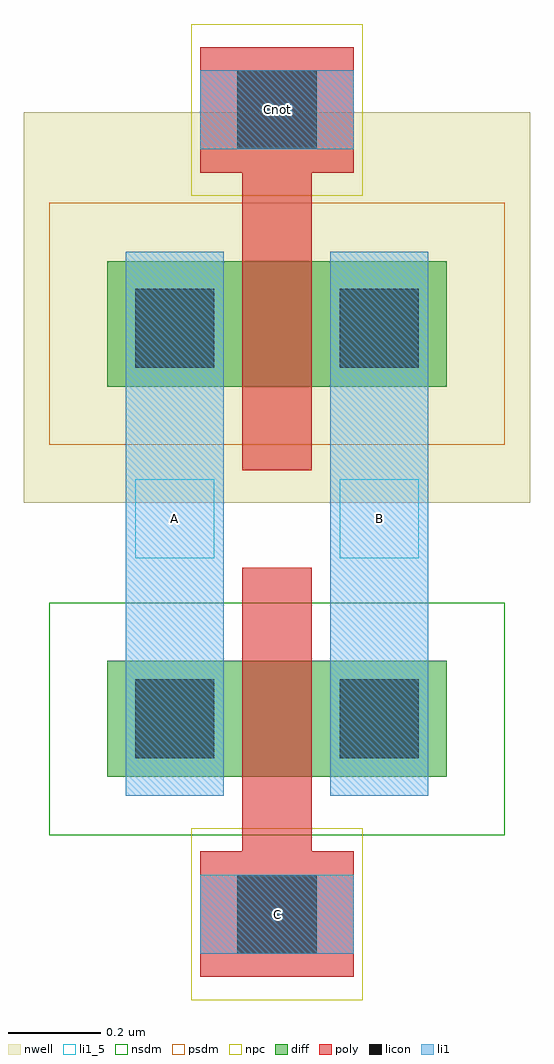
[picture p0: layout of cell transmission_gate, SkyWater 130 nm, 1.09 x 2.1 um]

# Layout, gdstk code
import gdstk
lib = gdstk.Library(unit=1e-6, precision=1e-09)
def R(c, l, rs):  # rectangles x0, y0, x1, y1
    for r in rs: c.add(gdstk.rectangle(r[:2], r[2:], *l))
nwell = (64, 20)
diff = (65, 20)
poly = (66, 20)
licon = (66, 44)
li1_5 = (67, 5)
li1 = (67, 20)
nsdm = (93, 44)
psdm = (94, 20)
npc = (95, 20)

transmission_gate = lib.new_cell('transmission_gate')
R(transmission_gate, nwell, [(-0.34,0.29,0.75,1.13)])
R(transmission_gate, diff, [(-0.16,-0.3,0.57,-0.05), (-0.16,0.54,0.57,0.81)])
R(transmission_gate, poly, [(0.04,-0.73,0.37,-0.46), (0.13,-0.46,0.28,0.15), (0.13,0.36,0.28,1), (0.04,1,0.37,1.27)])
R(transmission_gate, licon, [(0.12,-0.68,0.29,-0.51), (-0.1,-0.26,0.07,-0.09), (0.34,-0.26,0.51,-0.09), (-0.1,0.58,0.07,0.75), (0.34,0.58,0.51,0.75), (0.12,1.05,0.29,1.22)])
R(transmission_gate, li1_5, [(0.12,-0.68,0.29,-0.51), (-0.1,0.17,0.07,0.34), (0.34,0.17,0.51,0.34), (0.12,1.05,0.29,1.22)])
R(transmission_gate, li1, [(0.04,-0.68,0.37,-0.51), (-0.12,-0.34,0.09,0.83), (0.32,-0.34,0.53,0.83), (0.04,1.05,0.37,1.22)])
R(transmission_gate, nsdm, [(-0.285,-0.425,0.695,0.075)])
R(transmission_gate, psdm, [(-0.285,0.415,0.695,0.935)])
R(transmission_gate, npc, [(0.02,-0.78,0.39,-0.41), (0.02,0.95,0.39,1.32)])
transmission_gate.add(gdstk.Label('B', (0.425,0.255), layer=67, texttype=5))
transmission_gate.add(gdstk.Label('A', (-0.015,0.255), layer=67, texttype=5))
transmission_gate.add(gdstk.Label('Cnot', (0.205,1.135), layer=67, texttype=5))
transmission_gate.add(gdstk.Label('C', (0.205,-0.595), layer=67, texttype=5))

lib.write_gds('transmission_gate.gds')
